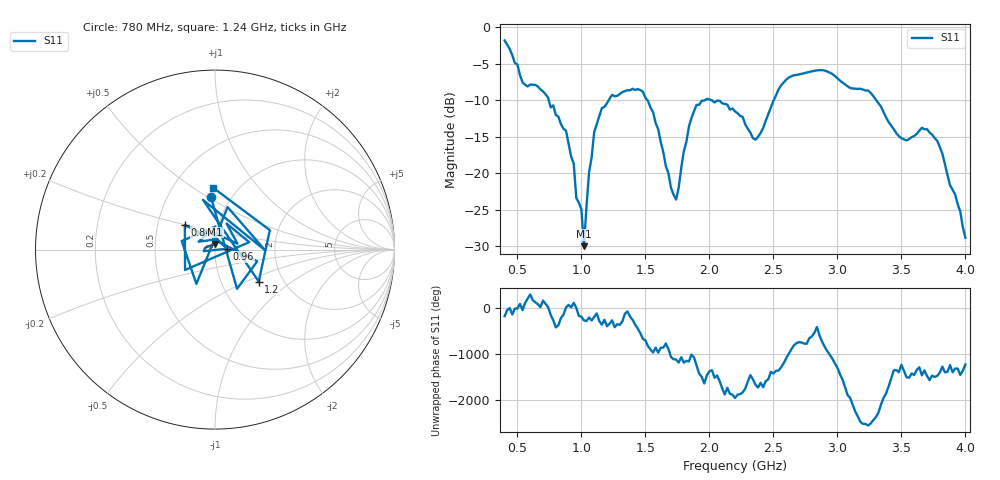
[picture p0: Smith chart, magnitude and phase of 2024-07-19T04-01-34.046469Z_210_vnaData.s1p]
!Created with skrf (http://scikit-rf.org).
# Hz S RI R 50.0
!freq ReS11 ImS11
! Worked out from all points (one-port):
!   181 points, 400 MHz to 4 GHz, reference 50 ohm
!   lowest |S11| = -30.0 dB at 1.02 GHz (marker M1), VSWR 1.07, Z = 49.9 + j3.15 ohm
!   |S11| at or under -10 dB: 745 MHz to 1.213 GHz (468.1 MHz wide, 47.8 % of centre); 2.018 GHz to 2.502 GHz (484.1 MHz wide, 21.4 % of centre); 3.304 GHz to end of sweep (the widest 3 of 4)
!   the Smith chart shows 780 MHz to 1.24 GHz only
!   S11 on the Smith chart (normalised r, x): 780 MHz: 0.81, +0.52; 840 MHz: 0.69, +0.20; 960 MHz: 1.14, +0.01; 1.2 GHz: 1.51, -0.59; 1.24 GHz: 0.77, +0.60
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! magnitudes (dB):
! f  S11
! 400 MHz  -1.8
! 540 MHz  -7.5
! 780 MHz  -10.7
! 840 MHz  -13.3
! 860 MHz  -13.9
! 940 MHz  -18.7
! 960 MHz  -23.4
! 1 GHz  -25.0
! 1.02 GHz  -30.0
! 1.06 GHz  -19.9
! 1.1 GHz  -14.4
! 1.2 GHz  -10.4
! 1.24 GHz  -9.3
! 1.3 GHz  -9.1
! 1.48 GHz  -8.8
! 1.6 GHz  -14.0
! 1.7 GHz  -22.0
! 1.76 GHz  -22.0
! 1.84 GHz  -13.6
! 1.9 GHz  -10.6
! 2.2 GHz  -11.5
! 2.36 GHz  -15.4
! 2.66 GHz  -6.6
! 3.1 GHz  -8.3
! 3.24 GHz  -8.7
! 3.56 GHz  -15.3
! 3.78 GHz  -15.6
! 4 GHz  -28.9
